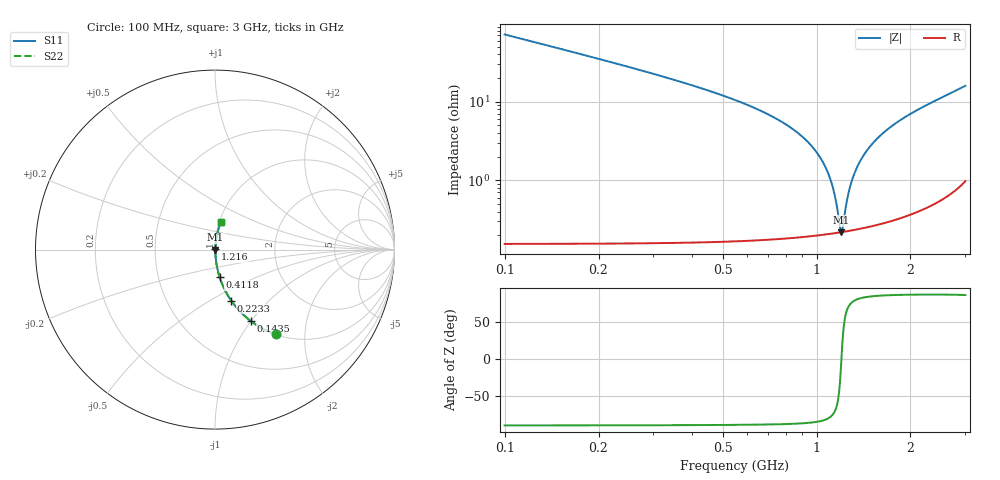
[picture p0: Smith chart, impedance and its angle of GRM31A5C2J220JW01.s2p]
!Murata Part Number: GRM31A5C2J220JW01
!These Parameters are Measured in Series Mode Connection
!Data Generated on Mar 30, 2021
!  o--ll--o
!Port1  Port2
!  o------o
!Operation Temp=25[degC], DC Bias Voltage=0[V]
!Freq. Start=100[MHz] Stop=3[GHz] 401[Steps]
# Hz S RI R 50
!Freq.(Hz) S11(Real) S11(Imag) S21(Real) S21(Imag) S12(Real) S12(Imag) S22(Real) S22(Imag)
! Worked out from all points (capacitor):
!   401 points, 100 MHz to 3 GHz, reference 50 ohm
!   read as one part in series: C = 22 pF near 114.5 MHz
!   lowest |Z| = 218 mohm at 1.202 GHz (marker M1)
!   series resonance near 1.202 GHz, so ESL is about 800 pH
!   S11 on the Smith chart (normalised r, x): 100 MHz: 1.00, -1.44; 143.5 MHz: 1.00, -0.99; 223.2 MHz: 1.00, -0.63; 411.8 MHz: 1.00, -0.31; 1.216 GHz: 1.00, +0.00; 3 GHz: 1.02, +0.32
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1e8  0.3408 -0.4729  0.6592 0.4729  0.6592 0.4729  0.3408 -0.4729
1.435e8  0.1989 -0.3976  0.8011 0.3976  0.8011 0.3976  0.1989 -0.3976
2.2325e8  0.0905 -0.2844  0.9095 0.2844  0.9095 0.2844  0.0905 -0.2844
4.1175e8  0.0251 -0.1514  0.9749 0.1514  0.9749 0.1514  0.0251 -0.1514
5.8575e8  0.0105 -0.0937  0.9895 0.0937  0.9895 0.0937  0.0105 -0.0937
8.975e8  0.00319 -0.036  0.9968 0.036  0.9968 0.036  0.00319 -0.036
9.99e8  0.00249 -0.0227  0.9975 0.0227  0.9975 0.0227  0.00249 -0.0227
1.0715e9  0.00224 -0.0141  0.9978 0.0141  0.9978 0.0141  0.00224 -0.0141
1.1295e9  0.00216 -0.00762  0.9978 0.00762  0.9978 0.00762  0.00216 -0.00762
1.15125e9  0.00215 -0.00527  0.9979 0.00527  0.9979 0.00527  0.00215 -0.00527
1.1875e9  0.00216 -0.00145  0.9978 0.00145  0.9978 0.00145  0.00216 -0.00145
1.202e9  0.00218 4.75e-05  0.9978 -4.75e-05  0.9978 -4.75e-05  0.00218 4.75e-05
1.2165e9  0.0022 0.00153  0.9978 -0.00153  0.9978 -0.00153  0.0022 0.00153
1.2455e9  0.00225 0.00445  0.9978 -0.00445  0.9978 -0.00445  0.00225 0.00445
1.26725e9  0.0023 0.0066  0.9977 -0.0066  0.9977 -0.0066  0.0023 0.0066
1.32525e9  0.00248 0.0122  0.9975 -0.0122  0.9975 -0.0122  0.00248 0.0122
1.4195e9  0.0029 0.0209  0.9971 -0.0209  0.9971 -0.0209  0.0029 0.0209
1.55e9  0.00372 0.0324  0.9963 -0.0324  0.9963 -0.0324  0.00372 0.0324
1.753e9  0.00549 0.0493  0.9945 -0.0493  0.9945 -0.0493  0.00549 0.0493
2.03575e9  0.00895 0.0719  0.9911 -0.0719  0.9911 -0.0719  0.00895 0.0719
2.5215e9  0.0181 0.1107  0.9819 -0.1107  0.9819 -0.1107  0.0181 0.1107
3e9  0.0337 0.1524  0.9663 -0.1524  0.9663 -0.1524  0.0337 0.1524
